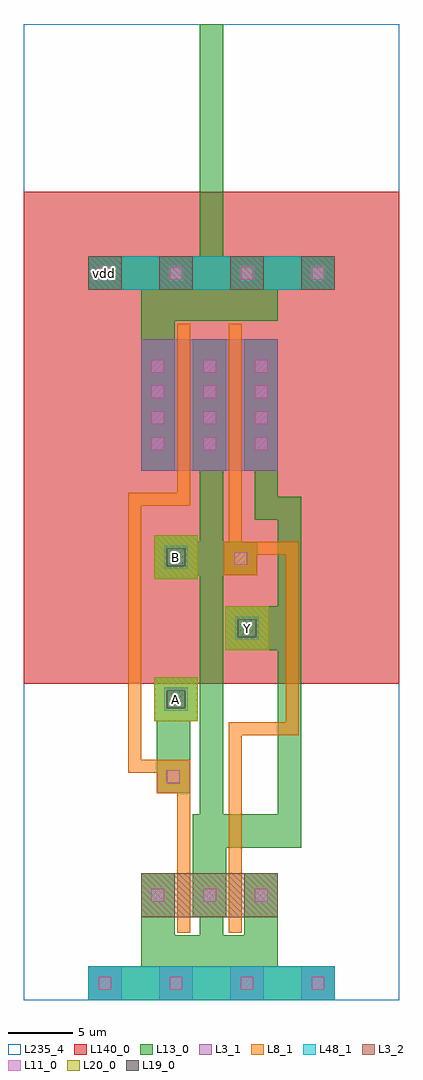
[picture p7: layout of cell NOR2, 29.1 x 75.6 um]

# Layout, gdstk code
import gdstk
lib = gdstk.Library(unit=1e-6, precision=1e-09)
def R(c, l, rs):  # rectangles x0, y0, x1, y1
    for r in rs: c.add(gdstk.rectangle(r[:2], r[2:], *l))
def A(c, l, x, y, w, h, nx, ny, dx, dy):  # array of equal rectangles
    R(c, l, [(x+i*dx, y+j*dy, x+i*dx+w, y+j*dy+h) for i in range(nx) for j in range(ny)])
def P(c, l, *ps):  # polygons
    for p in ps: c.add(gdstk.Polygon(p, *l))
L3_1 = (3, 1)
L3_2 = (3, 2)
L8_1 = (8, 1)
L11_0 = (11, 0)
L13_0 = (13, 0)
L19_0 = (19, 0)
L20_0 = (20, 0)
L48_1 = (48, 1)
L140_0 = (140, 0)
L235_4 = (235, 4)

nor2 = lib.new_cell('NOR2')
A(nor2, L3_1, 5, 0, 2.6, 2.6, 4, 1, 5.5, 0)
R(nor2, L3_1, [(9.1,41,19.7,51.2)])
A(nor2, L3_2, 5, 55, 2.6, 2.6, 4, 1, 5.5, 0)
R(nor2, L3_2, [(9.1,6.4,19.7,9.8)])
P(nor2, L8_1, [(11.9,5.2),(11.9,16),(10.3,16),(10.3,17.6),(8.1,17.6),(8.1,39.3),(11.9,39.3),(11.9,52.4),(12.9,52.4),(12.9,38.3),(9.1,38.3),(9.1,18.6),(12.9,18.6),(12.9,5.2)],
  [(15.9,5.2),(15.9,21.5),(20.3,21.5),(20.3,34.5),(18.1,34.5),(18.1,32.9),(15.5,32.9),(15.5,35.5),(15.9,35.5),(15.9,52.4),(16.9,52.4),(16.9,35.5),(21.3,35.5),(21.3,20.5),(16.9,20.5),(16.9,5.2)])
A(nor2, L11_0, 5.8, 0.8, 1, 1, 4, 2, 5.5, 55)
A(nor2, L11_0, 17.9, 42.6, 1, 1, 1, 4, 0, 2)
R(nor2, L11_0, [(9.9,7.6,10.9,8.6), (13.9,7.6,14.9,8.6), (13.9,7.6,14.9,8.6), (17.9,7.6,18.9,8.6), (11.1,16.8,12.1,17.8), (16.3,33.7,17.3,34.7), (9.9,42.6,10.9,43.6), (9.9,42.6,10.9,43.6), (9.9,42.6,10.9,43.6), (13.9,42.6,14.9,43.6), (13.9,42.6,14.9,43.6), (13.9,42.6,14.9,43.6), (13.9,42.6,14.9,43.6), (9.9,44.6,10.9,45.6), (9.9,44.6,10.9,45.6), (9.9,44.6,10.9,45.6), (13.9,44.6,14.9,45.6), (13.9,44.6,14.9,45.6), (13.9,44.6,14.9,45.6), (13.9,44.6,14.9,45.6), (9.9,46.6,10.9,47.6), (9.9,46.6,10.9,47.6), (9.9,46.6,10.9,47.6), (13.9,46.6,14.9,47.6), (13.9,46.6,14.9,47.6), (13.9,46.6,14.9,47.6), (13.9,46.6,14.9,47.6), (9.9,48.6,10.9,49.6), (9.9,48.6,10.9,49.6), (9.9,48.6,10.9,49.6), (13.9,48.6,14.9,49.6), (13.9,48.6,14.9,49.6), (13.9,48.6,14.9,49.6), (13.9,48.6,14.9,49.6)])
P(nor2, L13_0, [(10.3,16),(10.3,21.6),(10.1,21.6),(10.1,25),(13.5,25),(13.5,21.6),(12.9,21.6),(12.9,16)],
  [(5,0),(5,2.6),(9.1,2.6),(9.1,9.8),(11.7,9.8),(11.7,5),(13.65,5),(13.65,6.4),(13.1,6.4),(13.1,14.4),(13.65,14.4),(13.65,32.9),(13.5,32.9),(13.5,32.6),(10.1,32.6),(10.1,36),(13.5,36),(13.5,35.5),(13.65,35.5),(13.65,41),(13.1,41),(13.1,51.2),(15.7,51.2),(15.7,41),(15.45,41),(15.45,35.5),(18.1,35.5),(18.1,32.9),(15.45,32.9),(15.45,14.4),(19.7,14.4),(19.7,27.1),(15.6,27.1),(15.6,30.5),(19.7,30.5),(19.7,37.2),(17.9,37.2),(17.9,41),(17.1,41),(17.1,51.2),(19.7,51.2),(19.7,39),(21.5,39),(21.5,11.8),(15.7,11.8),(15.7,6.4),(15.45,6.4),(15.45,5),(17.1,5),(17.1,9.8),(19.7,9.8),(19.7,2.6),(24.1,2.6),(24.1,0)],
  [(9.1,41),(9.1,55),(5,55),(5,57.6),(13.65,57.6),(13.65,75.6),(15.45,75.6),(15.45,57.6),(24.1,57.6),(24.1,55),(19.7,55),(19.7,52.6),(11.7,52.6),(11.7,41)])
R(nor2, L19_0, [(11.1,22.6,12.5,24), (16.6,28.1,18,29.5), (11.1,33.6,12.5,35)])
R(nor2, L20_0, [(10.1,21.6,13.5,25), (15.6,27.1,19,30.5), (10.1,32.6,13.5,36)])
R(nor2, L48_1, [(5,0,24.1,2.6), (10.9,22.4,12.7,24.2), (16.4,27.9,18.2,29.7), (10.9,33.4,12.7,35.2), (5,55,24.1,57.6)])
R(nor2, L140_0, [(0,24.5,29.1,62.6)])
R(nor2, L235_4, [(0,0,29.1,75.6)])
nor2.add(gdstk.Label('A', (11.8,23.3), layer=48, texttype=0))
nor2.add(gdstk.Label('B', (11.8,34.3), layer=48, texttype=0))
nor2.add(gdstk.Label('Y', (17.3,28.8), layer=48, texttype=0))
nor2.add(gdstk.Label('vdd', (6.3,56.3), layer=48, texttype=0))
nor2.add(gdstk.Label('A', (11.8,23.3), layer=49, texttype=0))
nor2.add(gdstk.Label('B', (11.8,34.3), layer=49, texttype=0))
nor2.add(gdstk.Label('Y', (17.3,28.8), layer=49, texttype=0))

lib.write_gds('NOR2.gds')
